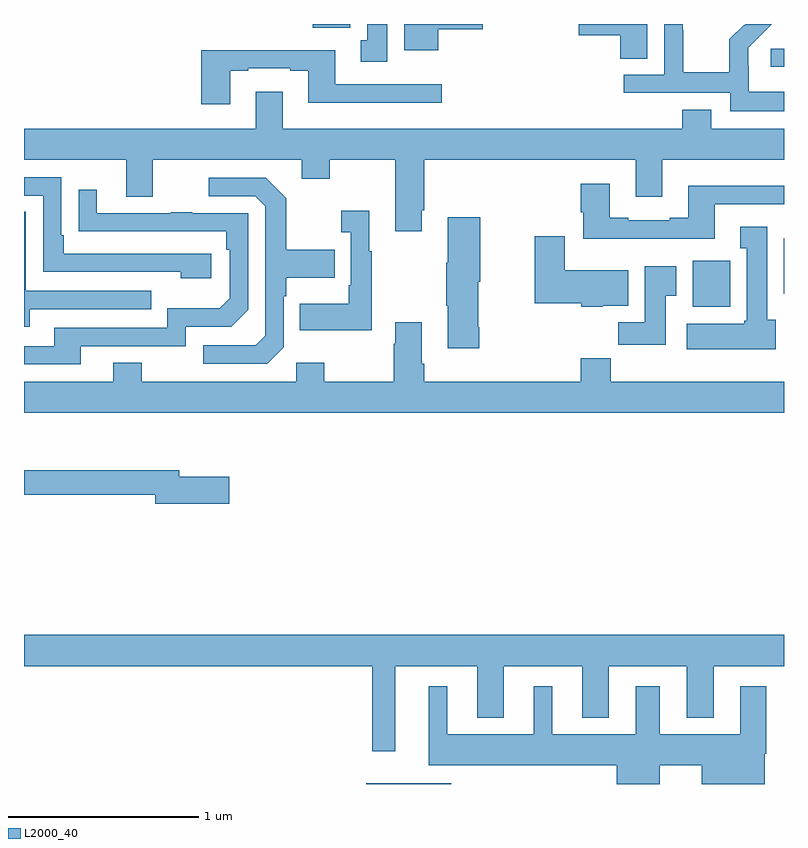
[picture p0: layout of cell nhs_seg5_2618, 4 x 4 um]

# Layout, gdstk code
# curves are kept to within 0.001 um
import gdstk
lib = gdstk.Library(unit=1e-6, precision=1e-09)
def R(c, l, rs):  # rectangles x0, y0, x1, y1
    for r in rs: c.add(gdstk.rectangle(r[:2], r[2:], *l))
def P(c, l, *ps):  # polygons
    for p in ps: c.add(gdstk.Polygon(p, *l))
L2000_40 = (2000, 40)

nhs_seg5_2618 = lib.new_cell('nhs_seg5_2618')
R(nhs_seg5_2618, L2000_40, [(264.8,862.799,265.249,862.804), (266.519,865.31,266.716,865.552), (266.999,865.38,267,865.672), (266.931,866.573,267,866.67), (264.521,866.78,264.718,866.799)])
P(nhs_seg5_2618, L2000_40, [(265.18,866.771),(265.415,866.771),(265.415,866.799),(265.001,866.799),(265.001,866.66),(265.18,866.66)],
  [(264.913,866.799),(264.806,866.799),(264.806,866.714),(264.773,866.714),(264.773,866.601),(264.913,866.601)],
  [(266.281,866.799),(265.92,866.799),(265.92,866.741),(266.138,866.741),(266.138,866.617),(266.281,866.617)],
  [(267,866.443),(266.814,866.443),(266.814,866.577),(266.812,866.577),(266.812,866.674),(266.935,866.799),(266.799,866.799),(266.793,866.793),(266.79,866.796),(266.713,866.719),(266.713,866.545),(266.469,866.545),(266.469,866.768),(266.466,866.768),(266.466,866.799),(266.37,866.799),(266.37,866.532),(266.157,866.532),(266.157,866.436),(266.718,866.436),(266.718,866.339),(267,866.339)],
  [(264.085,866.553),(264.181,866.553),(264.181,866.565),(264.401,866.565),(264.401,866.553),(264.497,866.553),(264.497,866.384),(265.198,866.384),(265.198,866.481),(264.637,866.481),(264.637,866.662),(263.933,866.662),(263.933,866.376),(264.085,866.376)],
  [(265.093,865.819),(265.106,865.819),(265.106,866.084),(266.219,866.084),(266.219,865.89),(266.359,865.89),(266.359,866.084),(267,866.084),(267,866.248),(266.617,866.248),(266.617,866.347),(266.465,866.347),(266.465,866.248),(264.361,866.248),(264.361,866.443),(264.221,866.443),(264.221,866.248),(263,866.248),(263,866.084),(263.537,866.084),(263.537,865.89),(263.677,865.89),(263.677,866.084),(264.461,866.084),(264.461,865.985),(264.609,865.985),(264.609,866.084),(264.953,866.084),(264.953,865.707),(265.093,865.707)],
  [(263.986,865.59),(263.209,865.59),(263.209,865.687),(263.196,865.687),(263.196,865.992),(263,865.992),(263,865.896),(263.1,865.896),(263.1,865.494),(263.825,865.494),(263.825,865.46),(263.986,865.46)],
  [(264.366,865.098),(264.366,865.367),(264.379,865.367),(264.379,865.463),(264.635,865.463),(264.635,865.611),(264.379,865.611),(264.379,865.883),(264.273,865.989),(263.973,865.989),(263.973,865.893),(264.216,865.893),(264.27,865.839),(264.27,865.158),(264.219,865.107),(263.943,865.107),(263.943,865.011),(264.279,865.011)],
  [(266.635,865.851),(267,865.851),(267,865.948),(266.495,865.948),(266.495,865.78),(266.399,865.78),(266.399,865.767),(266.179,865.767),(266.179,865.78),(266.083,865.78),(266.083,865.957),(265.931,865.957),(265.931,865.809),(265.943,865.809),(265.943,865.67),(266.635,865.67)],
  [(263.299,865.104),(263.85,865.104),(263.85,865.206),(264.09,865.206),(264.18,865.296),(264.18,865.803),(263.885,865.803),(263.885,865.808),(263.773,865.808),(263.773,865.803),(263.383,865.803),(263.383,865.927),(263.287,865.927),(263.287,865.708),(264.064,865.707),(264.064,865.61),(264.084,865.61),(264.084,865.356),(264.031,865.303),(263.754,865.303),(263.754,865.2),(263.159,865.2),(263.159,865.104),(263,865.104),(263,865.008),(263.299,865.008)],
  [(264.829,865.603),(264.817,865.603),(264.817,865.816),(264.669,865.816),(264.669,865.703),(264.72,865.703),(264.72,865.423),(264.708,865.423),(264.708,865.327),(264.451,865.327),(264.451,865.187),(264.829,865.187)],
  [(263.029,865.299),(263.669,865.299),(263.669,865.395),(263.01,865.395),(263.01,865.811),(263,865.811),(263,865.205),(263.029,865.205)],
  [(265.397,865.204),(265.392,865.204),(265.392,865.443),(265.402,865.443),(265.402,865.783),(265.229,865.783),(265.229,865.543),(265.222,865.543),(265.222,865.315),(265.229,865.315),(265.229,865.092),(265.397,865.092)],
  [(266.956,865.242),(266.911,865.242),(266.911,865.732),(266.771,865.732),(266.771,865.619),(266.804,865.619),(266.804,865.236),(266.791,865.236),(266.791,865.222),(266.487,865.222),(266.487,865.088),(266.956,865.088)],
  [(266.046,865.316),(266.179,865.316),(266.179,865.504),(265.846,865.504),(265.846,865.681),(265.688,865.681),(265.688,865.328),(265.932,865.328),(265.932,865.31),(266.046,865.31)],
  [(266.377,865.369),(266.434,865.369),(266.434,865.525),(266.267,865.525),(266.267,865.228),(266.128,865.228),(266.128,865.11),(266.377,865.11)],
  [(267,864.916),(266.087,864.916),(266.087,865.04),(265.931,865.04),(265.931,864.916),(265.106,864.916),(265.106,865.012),(265.093,865.012),(265.093,865.228),(264.953,865.228),(264.953,865.115),(264.946,865.115),(264.946,864.916),(264.579,864.916),(264.579,865.015),(264.432,865.015),(264.432,864.916),(263.619,864.916),(263.619,865.015),(263.471,865.015),(263.471,864.916),(263,864.916),(263,864.752),(267,864.752)],
  [(264.079,864.417),(263.818,864.417),(263.818,864.451),(263,864.451),(263,864.322),(263.69,864.322),(263.69,864.275),(264.079,864.275)],
  [(263,863.42),(264.834,863.42),(264.834,862.971),(264.955,862.971),(264.955,863.42),(265.385,863.42),(265.385,863.147),(265.525,863.147),(265.525,863.42),(265.937,863.42),(265.937,863.147),(266.077,863.147),(266.077,863.42),(266.489,863.42),(266.489,863.147),(266.629,863.147),(266.629,863.42),(267,863.42),(267,863.584),(263,863.584)],
  [(266.347,862.898),(266.567,862.898),(266.567,862.799),(266.899,862.799),(266.899,862.958),(266.907,862.958),(266.907,863.314),(266.771,863.314),(266.771,863.062),(266.347,863.062),(266.347,863.314),(266.219,863.314),(266.219,863.062),(265.78,863.062),(265.78,863.314),(265.682,863.314),(265.682,863.062),(265.228,863.062),(265.228,863.314),(265.13,863.314),(265.13,862.898),(266.12,862.898),(266.12,862.799),(266.347,862.799)])

lib.write_gds('nhs_seg5_2618.gds')
